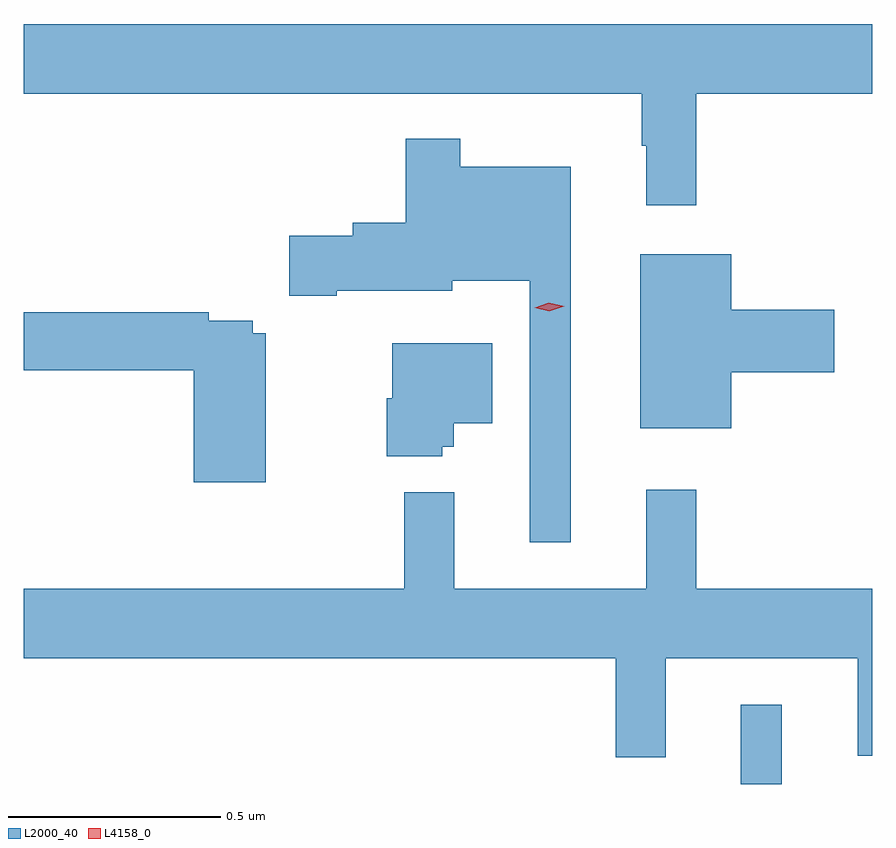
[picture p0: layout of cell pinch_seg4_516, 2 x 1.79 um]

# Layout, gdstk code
import gdstk
lib = gdstk.Library(unit=1e-6, precision=1e-09)
def R(c, l, rs):  # rectangles x0, y0, x1, y1
    for r in rs: c.add(gdstk.rectangle(r[:2], r[2:], *l))
def P(c, l, *ps):  # polygons
    for p in ps: c.add(gdstk.Polygon(p, *l))
L2000_40 = (2000, 40)
L4158_0 = (4158, 0)

pinch_seg4_516 = lib.new_cell('pinch_seg4_516')
R(pinch_seg4_516, L2000_40, [(998.012,749.904,998.109,750.091)])
P(pinch_seg4_516, L2000_40, [(997.907,751.532),(998.322,751.532),(998.322,751.696),(996.322,751.696),(996.322,751.532),(997.779,751.532),(997.779,751.409),(997.79,751.409),(997.79,751.269),(997.907,751.269)],
  [(997.612,751.36),(997.351,751.36),(997.351,751.426),(997.222,751.426),(997.222,751.227),(997.097,751.227),(997.097,751.197),(996.948,751.197),(996.948,751.055),(997.06,751.055),(997.06,751.067),(997.332,751.067),(997.332,751.091),(997.515,751.091),(997.515,750.474),(997.612,750.474)],
  [(997.99,750.875),(998.233,750.875),(998.233,751.022),(997.99,751.022),(997.99,751.153),(997.775,751.153),(997.775,750.743),(997.99,750.743)],
  [(996.892,750.967),(996.862,750.967),(996.862,750.996),(996.758,750.996),(996.758,751.016),(996.322,751.016),(996.322,750.88),(996.722,750.88),(996.722,750.615),(996.892,750.615)],
  [(997.308,750.699),(997.336,750.699),(997.336,750.755),(997.426,750.755),(997.426,750.943),(997.19,750.943),(997.19,750.813),(997.178,750.813),(997.178,750.677),(997.308,750.677)],
  [(997.835,750.2),(998.288,750.2),(998.288,749.971),(998.322,749.971),(998.322,750.364),(997.907,750.364),(997.907,750.598),(997.79,750.598),(997.79,750.364),(997.337,750.364),(997.337,750.592),(997.219,750.592),(997.219,750.364),(996.322,750.364),(996.322,750.2),(997.717,750.2),(997.717,749.967),(997.835,749.967)])
P(pinch_seg4_516, L4158_0, [(997.561,751.019),(997.526,751.027),(997.525,751.027),(997.526,751.027),(997.56,751.039),(997.596,751.031),(997.596,751.031),(997.596,751.031)])

lib.write_gds('pinch_seg4_516.gds')
